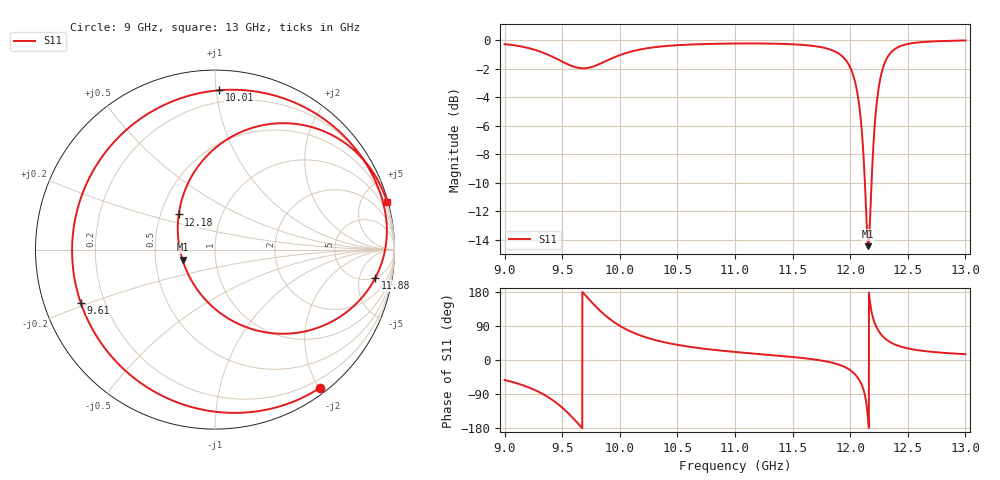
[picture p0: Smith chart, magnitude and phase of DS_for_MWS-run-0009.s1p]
! TOUCHSTONE file generated by CST DESIGN STUDIO
! Date and time: Tue Feb  4 17:57:36 2025
! Project name: C:\Work\MatlabApps\UnitCellOptimizationMatlab\CST\unitcell.cst
! Tree item: Tasks\Sweep1\SPara1\S-Parameters
! Header version: 2024
! Port assignment regex: !\s*Touchstone port\s*([0-9]+)\s*=\s*(CST MWS port|CST DES external port|CST DES block port)\s*(.+)\s* \(\"(.*)\"\)(\s*mode\s*([0-9]+))?.*
! Touchstone port assignment:
! Touchstone port 1 = CST DES external port 1 ("")
# GHz S MA R 50
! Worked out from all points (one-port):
!   4001 points, 9 GHz to 13 GHz, reference 50 ohm
!   lowest |S11| = -14.4 dB at 12.16 GHz (marker M1), VSWR 1.47, Z = 34.5 - j4.06 ohm
!   |S11| at or under -10 dB: 12.1278 GHz to 12.18521 GHz (57.41 MHz wide, 0.472 % of centre)
!   S11 on the Smith chart (normalised r, x): 9 GHz: 0.08, -2.01; 9.61 GHz: 0.11, -0.19; 10.01 GHz: 0.12, +1.02; 11.88 GHz: 5, -9; 12.18 GHz: 0.62, +0.26; 13 GHz: 0.10, +7.40
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9  0.9671 -52.7
9.163  0.9459 -67.1
9.316  0.9085 -87.2
9.414  0.8744 -105.3
9.5  0.8404 -125.7
9.61  0.8045 -158.5
9.711  0.7975 167.4
9.823  0.8238 131.7
9.907  0.8539 109.6
10  0.8852 90.2
10.01  0.8882 88.4
10.226  0.9342 59.8
10.5  0.9591 40.0
11  0.9723 21.2
11.5  0.9661 8.0
11.878  0.9074 -9.9
12  0.8016 -26.8
12.049  0.695 -40.2
12.095  0.5111 -62.2
12.125  0.334 -89.3
12.157  0.1898 -162.6
12.18  0.2814 135.9
12.223  0.5628 90.2
12.269  0.7568 67.2
12.313  0.8544 54.1
12.362  0.9113 44.6
12.5  0.9687 30.6
13  0.9964 15.4
